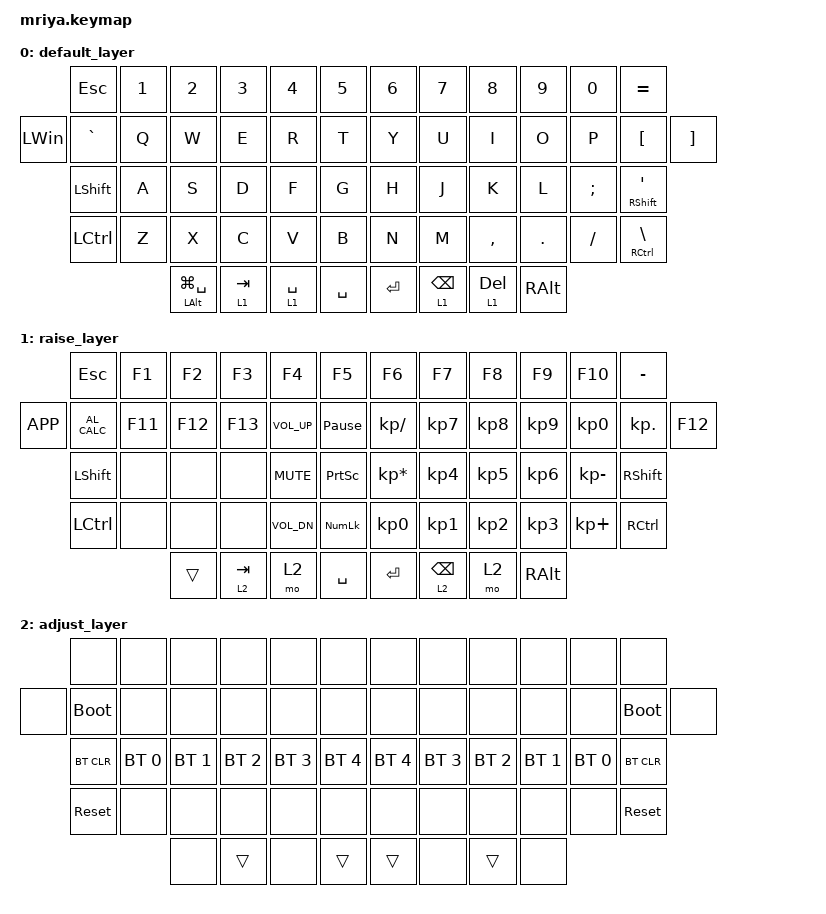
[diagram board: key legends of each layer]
/*
 * Copyright (c) 2023 Andrei Gaevskii
 *
 * SPDX-License-Identifier: MIT
 */

#include <behaviors.dtsi>
#include <dt-bindings/zmk/bt.h>
#include <dt-bindings/zmk/keys.h>

#define DEF 0
#define LWR 1
#define RSE 2
#define ADJ 3

&lt { quick_tap_ms = <200>; };

&mt { quick_tap_ms = <200>; };

/ {
    combos {
        compatible = "zmk,combos";

        combo-minus {
            bindings = <&kp MINUS>;
            key-positions = <10 11>;
            layers = <0>;
        };
    };

    keymap {
        compatible = "zmk,keymap";

        default_layer {
            bindings = <
          &kp ESC         &kp N1  &kp N2                  &kp N3     &kp N4       &kp N5       &kp N6     &kp N7           &kp N8     &kp N9    &kp N0    &kp EQUAL
&kp LWIN  &kp GRAVE       &kp Q   &kp W                   &kp E      &kp R        &kp T        &kp Y      &kp U            &kp I      &kp O     &kp P     &kp LBKT        &kp RIGHT_BRACKET
          &kp LEFT_SHIFT  &kp A   &kp S                   &kp D      &kp F        &kp G        &kp H      &kp J            &kp K      &kp L     &kp SEMI  &mt RSHIFT SQT
          &kp LCTRL       &kp Z   &kp X                   &kp C      &kp V        &kp B        &kp N      &kp M            &kp COMMA  &kp DOT   &kp FSLH  &mt RCTRL BSLH
                                  &mt LEFT_ALT LG(SPACE)  &lt 1 TAB  &lt 1 SPACE  &kp SPACE    &kp ENTER  &lt 1 BACKSPACE  &lt 1 DEL  &kp RALT
            >;
        };

        raise_layer {
            bindings = <
           &kp ESC           &kp F1   &kp F2   &kp F3     &kp F4        &kp F5             &kp F6           &kp F7           &kp F8     &kp F9     &kp F10       &kp MINUS
&kp K_APP  &kp C_AL_CALC     &kp F11  &kp F12  &kp F13    &kp C_VOL_UP  &kp PAUSE_BREAK    &kp KP_SLASH     &kp KP_N7        &kp KP_N8  &kp KP_N9  &kp KP_N0     &kp KP_DOT  &kp F12
           &kp LSHFT         &none    &none    &none      &kp C_MUTE    &kp PRINTSCREEN    &kp KP_ASTERISK  &kp KP_N4        &kp KP_N5  &kp KP_N6  &kp KP_MINUS  &kp RSHFT
           &kp LEFT_CONTROL  &none    &none    &none      &kp C_VOL_DN  &kp KP_NUMLOCK     &kp KP_N0        &kp KP_N1        &kp KP_N2  &kp KP_N3  &kp KP_PLUS   &kp RCTRL
                                      &trans   &lt 2 TAB  &mo 2         &kp SPACE          &kp ENTER        &lt 2 BACKSPACE  &mo 2      &kp RALT
            >;
        };

        adjust_layer {
            bindings = <
       &none        &none         &none         &none         &none         &none           &none         &none         &none         &none         &none         &none
&none  &bootloader  &none         &none         &none         &none         &none           &none         &none         &none         &none         &none         &bootloader  &none
       &bt BT_CLR   &bt BT_SEL 0  &bt BT_SEL 1  &bt BT_SEL 2  &bt BT_SEL 3  &bt BT_SEL 4    &bt BT_SEL 4  &bt BT_SEL 3  &bt BT_SEL 2  &bt BT_SEL 1  &bt BT_SEL 0  &bt BT_CLR
       &sys_reset   &none         &none         &none         &none         &none           &none         &none         &none         &none         &none         &sys_reset
                                  &none         &trans        &none         &trans          &trans        &none         &trans        &none
            >;
        };
    };
};
